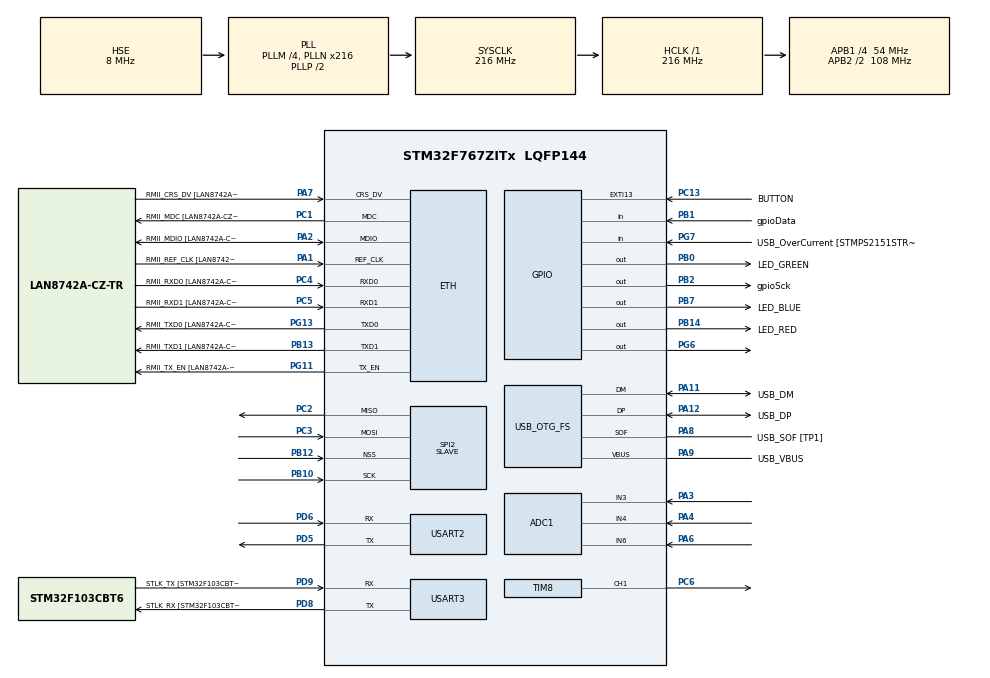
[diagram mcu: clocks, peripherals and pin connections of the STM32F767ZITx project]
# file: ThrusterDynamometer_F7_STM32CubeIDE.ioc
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ADC1.Channel-0\#ChannelRegularConversion=ADC_CHANNEL_3
ADC1.Channel-1\#ChannelRegularConversion=ADC_CHANNEL_4
ADC1.Channel-2\#ChannelRegularConversion=ADC_CHANNEL_6
ADC1.ClockPrescaler=ADC_CLOCK_SYNC_PCLK_DIV8
ADC1.DMAContinuousRequests=ENABLE
ADC1.ExternalTrigConv=ADC_EXTERNALTRIGCONV_T2_TRGO
ADC1.NbrOfConversion=3
ADC1.NbrOfConversionFlag=1
ADC1.Rank-0\#ChannelRegularConversion=1
ADC1.Rank-1\#ChannelRegularConversion=2
ADC1.Rank-2\#ChannelRegularConversion=3
ADC1.SamplingTime-0\#ChannelRegularConversion=ADC_SAMPLETIME_480CYCLES
ADC1.SamplingTime-1\#ChannelRegularConversion=ADC_SAMPLETIME_480CYCLES
ADC1.SamplingTime-2\#ChannelRegularConversion=ADC_SAMPLETIME_480CYCLES
ADC1.ScanConvMode=ADC_SCAN_ENABLE
ADC1.master=1
Dma.ADC1.1.Direction=DMA_PERIPH_TO_MEMORY
Dma.ADC1.1.FIFOMode=DMA_FIFOMODE_DISABLE
Dma.ADC1.1.Instance=DMA2_Stream0
Dma.ADC1.1.MemDataAlignment=DMA_MDATAALIGN_WORD
Dma.ADC1.1.MemInc=DMA_MINC_ENABLE
Dma.ADC1.1.Mode=DMA_CIRCULAR
Dma.ADC1.1.PeriphDataAlignment=DMA_PDATAALIGN_WORD
Dma.ADC1.1.PeriphInc=DMA_PINC_DISABLE
Dma.ADC1.1.Priority=DMA_PRIORITY_LOW
Dma.Request0=USART2_RX
Dma.Request1=ADC1
Dma.Request2=TIM8_CH1
Dma.Request3=SPI2_RX
Dma.Request4=SPI2_TX
Dma.SPI2_RX.3.Direction=DMA_PERIPH_TO_MEMORY
Dma.SPI2_RX.3.FIFOMode=DMA_FIFOMODE_ENABLE
Dma.SPI2_RX.3.FIFOThreshold=DMA_FIFO_THRESHOLD_FULL
Dma.SPI2_RX.3.Instance=DMA1_Stream1
Dma.SPI2_RX.3.MemBurst=DMA_MBURST_SINGLE
Dma.SPI2_RX.3.MemDataAlignment=DMA_MDATAALIGN_BYTE
Dma.SPI2_RX.3.MemInc=DMA_MINC_ENABLE
Dma.SPI2_RX.3.Mode=DMA_NORMAL
Dma.SPI2_RX.3.PeriphBurst=DMA_PBURST_SINGLE
Dma.SPI2_RX.3.PeriphDataAlignment=DMA_PDATAALIGN_BYTE
Dma.SPI2_RX.3.PeriphInc=DMA_PINC_DISABLE
Dma.SPI2_RX.3.Priority=DMA_PRIORITY_LOW
Dma.SPI2_TX.4.Direction=DMA_MEMORY_TO_PERIPH
Dma.SPI2_TX.4.FIFOMode=DMA_FIFOMODE_ENABLE
Dma.SPI2_TX.4.FIFOThreshold=DMA_FIFO_THRESHOLD_FULL
Dma.SPI2_TX.4.Instance=DMA1_Stream4
Dma.SPI2_TX.4.MemBurst=DMA_MBURST_SINGLE
Dma.SPI2_TX.4.MemDataAlignment=DMA_MDATAALIGN_BYTE
Dma.SPI2_TX.4.MemInc=DMA_MINC_ENABLE
Dma.SPI2_TX.4.Mode=DMA_NORMAL
Dma.SPI2_TX.4.PeriphBurst=DMA_PBURST_SINGLE
Dma.SPI2_TX.4.PeriphDataAlignment=DMA_PDATAALIGN_BYTE
Dma.SPI2_TX.4.PeriphInc=DMA_PINC_DISABLE
Dma.SPI2_TX.4.Priority=DMA_PRIORITY_LOW
Dma.TIM8_CH1.2.Direction=DMA_PERIPH_TO_MEMORY
Dma.TIM8_CH1.2.FIFOMode=DMA_FIFOMODE_DISABLE
Dma.TIM8_CH1.2.Instance=DMA2_Stream2
Dma.TIM8_CH1.2.MemDataAlignment=DMA_MDATAALIGN_HALFWORD
Dma.TIM8_CH1.2.MemInc=DMA_MINC_ENABLE
Dma.TIM8_CH1.2.Mode=DMA_CIRCULAR
Dma.TIM8_CH1.2.PeriphDataAlignment=DMA_PDATAALIGN_HALFWORD
Dma.TIM8_CH1.2.PeriphInc=DMA_PINC_DISABLE
Dma.TIM8_CH1.2.Priority=DMA_PRIORITY_LOW
Dma.USART2_RX.0.Direction=DMA_PERIPH_TO_MEMORY
Dma.USART2_RX.0.FIFOMode=DMA_FIFOMODE_DISABLE
Dma.USART2_RX.0.Instance=DMA1_Stream5
Dma.USART2_RX.0.MemDataAlignment=DMA_MDATAALIGN_BYTE
Dma.USART2_RX.0.MemInc=DMA_MINC_ENABLE
Dma.USART2_RX.0.Mode=DMA_NORMAL
Dma.USART2_RX.0.PeriphDataAlignment=DMA_PDATAALIGN_BYTE
Dma.USART2_RX.0.PeriphInc=DMA_PINC_DISABLE
Dma.USART2_RX.0.Priority=DMA_PRIORITY_LOW
ETH.MediaInterface=ETH_MEDIA_INTERFACE_RMII
ETH.PHY_Name=LAN8742A_PHY_ADDRESS
ETH.PHY_Value=0
ETH.PhyAddress=0
FREERTOS.Tasks01=defaultTask,0,128,StartDefaultTask,Default,NULL,Dynamic,NULL,NULL
FREERTOS.configTOTAL_HEAP_SIZE=50000
LWIP.IP_ADDRESS=169.254.000.055
LWIP.LWIP_DHCP=0
LWIP.NETMASK_ADDRESS=255.255.000.000
LWIP.Version=v2.0.3_Cube
Mcu.Family=STM32F7
Mcu.Name=STM32F767ZITx
Mcu.Package=LQFP144
NVIC.DMA1_Stream1_IRQn=true\:5\:0\:false\:false\:true\:true\:false\:true
NVIC.DMA1_Stream4_IRQn=true\:5\:0\:false\:false\:true\:true\:false\:true
NVIC.DMA1_Stream5_IRQn=true\:5\:0\:false\:false\:true\:true\:false\:true
NVIC.DMA2_Stream0_IRQn=true\:5\:0\:false\:false\:true\:true\:false\:true
NVIC.DMA2_Stream2_IRQn=true\:5\:0\:false\:false\:true\:true\:false\:true
NVIC.ETH_IRQn=true\:5\:0\:false\:false\:true\:true\:false\:true
NVIC.PriorityGroup=NVIC_PRIORITYGROUP_4
NVIC.SPI2_IRQn=true\:5\:0\:false\:false\:true\:true\:true\:true
NVIC.TIM1_BRK_TIM9_IRQn=true\:5\:0\:false\:false\:true\:true\:true\:true
NVIC.TIM1_TRG_COM_TIM11_IRQn=true\:5\:0\:false\:false\:true\:true\:true\:true
NVIC.TIM1_UP_TIM10_IRQn=true\:0\:0\:false\:false\:true\:false\:false\:true
NVIC.TIM2_IRQn=true\:5\:0\:false\:false\:true\:true\:true\:true
NVIC.TimeBase=TIM1_UP_TIM10_IRQn
NVIC.TimeBaseIP=TIM1
NVIC.USART2_IRQn=true\:5\:0\:false\:false\:true\:true\:true\:true
NVIC.USART3_IRQn=true\:5\:0\:false\:false\:true\:true\:true\:true
PA1.GPIO_Label=RMII_REF_CLK [LAN8742A-CZ-TR_REFCLK0]
PA1.Mode=RMII
PA1.Signal=ETH_REF_CLK
PA10.GPIO_Label=USB_ID
PA10.Signal=USB_OTG_FS_ID
PA11.GPIO_Label=USB_DM
PA11.Mode=Device_Only
PA11.Signal=USB_OTG_FS_DM
PA12.GPIO_Label=USB_DP
PA12.Mode=Device_Only
PA12.Signal=USB_OTG_FS_DP
PA13.GPIO_Label=TMS
PA13.Mode=Serial_Wire
PA13.Signal=SYS_JTMS-SWDIO
PA14.GPIO_Label=TCK
PA14.Mode=Serial_Wire
PA14.Signal=SYS_JTCK-SWCLK
PA2.GPIO_Label=RMII_MDIO [LAN8742A-CZ-TR_MDIO]
PA2.Mode=RMII
PA2.Signal=ETH_MDIO
PA3.Signal=ADCx_IN3
PA4.Signal=ADCx_IN4
PA6.Signal=ADCx_IN6
PA7.GPIO_Label=RMII_CRS_DV [LAN8742A-CZ-TR_CRS_DV]
PA7.Mode=RMII
PA7.Signal=ETH_CRS_DV
PA8.GPIO_Label=USB_SOF [TP1]
PA8.Mode=Activate_SOF_FS
PA8.Signal=USB_OTG_FS_SOF
PA9.GPIO_Label=USB_VBUS
PA9.Mode=Activate_VBUS
PA9.Signal=USB_OTG_FS_VBUS
PB0.GPIO_Label=LED_GREEN
PB0.Signal=GPIO_Output
PB1.GPIO_Label=gpioData
PB1.Signal=GPIO_Input
PB10.Mode=Full_Duplex_Slave
PB10.Signal=SPI2_SCK
PB12.Mode=NSS_Signal_Hard_Input
PB12.Signal=SPI2_NSS
PB13.GPIO_Label=RMII_TXD1 [LAN8742A-CZ-TR_TXD1]
PB13.Mode=RMII
PB13.Signal=ETH_TXD1
PB14.GPIO_Label=LED_RED
PB14.Signal=GPIO_Output
PB2.GPIO_Label=gpioSck
PB2.Signal=GPIO_Output
PB3.GPIO_Label=SWO
PB3.Signal=SYS_JTDO-SWO
PB7.GPIO_Label=LED_BLUE
PB7.Signal=GPIO_Output
PC1.GPIO_Label=RMII_MDC [LAN8742A-CZ-TR_MDC]
PC1.Mode=RMII
PC1.Signal=ETH_MDC
PC13.GPIO_Label=BUTTON
PC13.Signal=GPXTI13
PC14/OSC32_IN.Mode=LSE-External-Oscillator
PC14/OSC32_IN.Signal=RCC_OSC32_IN
PC15/OSC32_OUT.Mode=LSE-External-Oscillator
PC15/OSC32_OUT.Signal=RCC_OSC32_OUT
PC2.Mode=Full_Duplex_Slave
PC2.Signal=SPI2_MISO
PC3.Mode=Full_Duplex_Slave
PC3.Signal=SPI2_MOSI
PC4.GPIO_Label=RMII_RXD0 [LAN8742A-CZ-TR_RXD0]
PC4.Mode=RMII
PC4.Signal=ETH_RXD0
PC5.GPIO_Label=RMII_RXD1 [LAN8742A-CZ-TR_RXD1]
PC5.Mode=RMII
PC5.Signal=ETH_RXD1
PC6.Signal=S_TIM8_CH1
PD5.Mode=Asynchronous
PD5.Signal=USART2_TX
PD6.Mode=Asynchronous
PD6.Signal=USART2_RX
PD8.GPIO_Label=STLK_RX [STM32F103CBT6_PA3]
PD8.Mode=Asynchronous
PD8.Signal=USART3_TX
PD9.GPIO_Label=STLK_TX [STM32F103CBT6_PA2]
PD9.Mode=Asynchronous
PD9.Signal=USART3_RX
PG11.GPIO_Label=RMII_TX_EN [LAN8742A-CZ-TR_TXEN]
PG11.Mode=RMII
PG11.Signal=ETH_TX_EN
PG13.GPIO_Label=RMII_TXD0 [LAN8742A-CZ-TR_TXD0]
PG13.Mode=RMII
PG13.Signal=ETH_TXD0
PG6.Signal=GPIO_Output
PG7.GPIO_Label=USB_OverCurrent [STMPS2151STR_FAULT]
PG7.Signal=GPIO_Input
PH0/OSC_IN.GPIO_Label=MCO [STM32F103CBT6_PA8]
PH0/OSC_IN.Mode=HSE-External-Clock-Source
PH0/OSC_IN.Signal=RCC_OSC_IN
PH1/OSC_OUT.Mode=HSE-External-Clock-Source
PH1/OSC_OUT.Signal=RCC_OSC_OUT
ProjectManager.HeapSize=0x200
ProjectManager.StackSize=0x400
ProjectManager.TargetToolchain=STM32CubeIDE
RCC.48MHZClocksFreq_Value=24000000
RCC.AHBFreq_Value=216000000
RCC.APB1CLKDivider=RCC_HCLK_DIV4
RCC.APB1Freq_Value=54000000
RCC.APB1TimFreq_Value=108000000
RCC.APB2CLKDivider=RCC_HCLK_DIV2
RCC.APB2Freq_Value=108000000
RCC.APB2TimFreq_Value=216000000
RCC.CortexFreq_Value=216000000
RCC.HCLKFreq_Value=216000000
RCC.HSE_VALUE=8000000
RCC.HSI_VALUE=16000000
RCC.PLLM=4
RCC.PLLMUL=RCC_PLL_MUL9
RCC.PLLN=216
RCC.PLLQ=9
RCC.PRESCALERUSB=RCC_USBCLKSOURCE_PLL_DIV1_5
RCC.SYSCLKFreq_VALUE=216000000
RCC.SYSCLKSource=RCC_SYSCLKSOURCE_PLLCLK
RCC.SYSCLKSourceVirtual=RCC_SYSCLKSOURCE_PLLCLK
RCC.USBFreq_Value=48000000
RCC.VCOOutputFreq_Value=432000000
SH.ADCx_IN3.0=ADC1_IN3,IN3
SH.ADCx_IN4.0=ADC1_IN4,IN4
SH.ADCx_IN6.0=ADC1_IN6,IN6
SH.S_TIM8_CH1.0=TIM8_CH1,PWM Generation1 CH1
SPI2.DataSize=SPI_DATASIZE_8BIT
SPI2.Direction=SPI_DIRECTION_2LINES
SPI2.Mode=SPI_MODE_SLAVE
SPI2.VirtualNSS=VM_NSSHARD
SPI2.VirtualType=VM_SLAVE
TIM11.Period=999
TIM11.Prescaler=2159
TIM2.Period=999
TIM2.Prescaler=1079
TIM2.TIM_MasterOutputTrigger=TIM_TRGO_UPDATE
TIM8.Channel-PWM\ Generation1\ CH1=TIM_CHANNEL_1
TIM8.Period=10000
TIM8.Prescaler=440
TIM9.Period=9999
TIM9.Prescaler=2159
USART2.VirtualMode-Asynchronous=VM_ASYNC
USART3.VirtualMode-Asynchronous=VM_ASYNC
USB_OTG_FS.VirtualMode=Device_Only
VP_FREERTOS_VS_CMSIS_V1.Mode=CMSIS_V1
VP_LWIP_VS_Enabled.Mode=Enabled
VP_SYS_VS_tim1.Mode=TIM1
VP_TIM11_VS_ClockSourceINT.Mode=Enable_Timer
VP_TIM2_VS_ClockSourceINT.Mode=Internal
VP_TIM9_VS_ClockSourceINT.Mode=Internal
board=NUCLEO-F767ZI

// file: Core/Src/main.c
/* USER CODE BEGIN Header */
/**
  ******************************************************************************
  * @file           : main.c
  * @brief          : Main program body
  ******************************************************************************
  * @attention
  *
  * <h2><center>&copy; Copyright (c) 2020 STMicroelectronics.
  * All rights reserved.</center></h2>
  *
  * This software component is licensed by ST under BSD 3-Clause license,
  * the "License"; You may not use this file except in compliance with the
  * License. You may obtain a copy of the License at:
  *                        opensource.org/licenses/BSD-3-Clause
  *
  ******************************************************************************
  */
/* USER CODE END Header */

#include "main.h"
#include "cmsis_os.h"
#include "lwip.h"

/* USER CODE BEGIN Includes */

#include <string.h>
#include "thruster_control_module.h"

/* USER CODE END Includes */

ADC_HandleTypeDef hadc1;
DMA_HandleTypeDef hdma_adc1;

SPI_HandleTypeDef hspi2;
DMA_HandleTypeDef hdma_spi2_rx;
DMA_HandleTypeDef hdma_spi2_tx;

TIM_HandleTypeDef htim2;
TIM_HandleTypeDef htim8;
TIM_HandleTypeDef htim9;
TIM_HandleTypeDef htim11;
DMA_HandleTypeDef hdma_tim8_ch1;

UART_HandleTypeDef huart2;
UART_HandleTypeDef huart3;
DMA_HandleTypeDef hdma_usart2_rx;

PCD_HandleTypeDef hpcd_USB_OTG_FS;

osThreadId defaultTaskHandle;

void SystemClock_Config(void);
static void MX_GPIO_Init(void);
static void MX_DMA_Init(void);
static void MX_USART3_UART_Init(void);
static void MX_USB_OTG_FS_PCD_Init(void);
static void MX_ADC1_Init(void);
static void MX_TIM2_Init(void);
static void MX_TIM8_Init(void);
static void MX_TIM9_Init(void);
static void MX_TIM11_Init(void);
static void MX_USART2_UART_Init(void);
static void MX_SPI2_Init(void);
void StartDefaultTask(void const * argument);

int main(void)
{
  /* USER CODE BEGIN 1 */

  DWT->CTRL |= (1 << 0);

  /* USER CODE END 1 */

  /* MCU Configuration--------------------------------------------------------*/

  /* Reset of all peripherals, Initializes the Flash interface and the Systick. */
  HAL_Init();

  /* Configure the system clock */
  SystemClock_Config();

  /* Initialize all configured peripherals */
  MX_GPIO_Init();
  MX_DMA_Init();
  MX_USART3_UART_Init();
  MX_USB_OTG_FS_PCD_Init();
  MX_ADC1_Init();
  MX_TIM2_Init();
  MX_TIM8_Init();
  MX_TIM9_Init();
  MX_TIM11_Init();
  MX_USART2_UART_Init();
  MX_LWIP_Init();
  MX_SPI2_Init();

  /* Create the thread(s) */
  /* definition and creation of defaultTask */

  /* USER CODE BEGIN RTOS_THREADS */
  /* add threads, ... */

  ThrusterControlModule_InitSystem();

  /* USER CODE END RTOS_THREADS */

  /* Start scheduler */
  osKernelStart();

  /* We should never get here as control is now taken by the scheduler */

  /* Infinite loop */
  while (1)
  {

  }
}

void SystemClock_Config(void)
{
  RCC_OscInitTypeDef RCC_OscInitStruct = {0};
  RCC_ClkInitTypeDef RCC_ClkInitStruct = {0};
  RCC_PeriphCLKInitTypeDef PeriphClkInitStruct = {0};

  /** Configure LSE Drive Capability
  */
  HAL_PWR_EnableBkUpAccess();
  /** Configure the main internal regulator output voltage
  */
  __HAL_RCC_PWR_CLK_ENABLE();
  __HAL_PWR_VOLTAGESCALING_CONFIG(PWR_REGULATOR_VOLTAGE_SCALE1);
  /** Initializes the CPU, AHB and APB busses clocks
  */
  RCC_OscInitStruct.OscillatorType = RCC_OSCILLATORTYPE_HSE;
  RCC_OscInitStruct.HSEState = RCC_HSE_BYPASS;
  RCC_OscInitStruct.PLL.PLLState = RCC_PLL_ON;
  RCC_OscInitStruct.PLL.PLLSource = RCC_PLLSOURCE_HSE;
  RCC_OscInitStruct.PLL.PLLM = 4;
  RCC_OscInitStruct.PLL.PLLN = 216;
  RCC_OscInitStruct.PLL.PLLP = RCC_PLLP_DIV2;
  RCC_OscInitStruct.PLL.PLLQ = 9;
  if (HAL_RCC_OscConfig(&RCC_OscInitStruct) != HAL_OK)
  {
    Error_Handler();
  }
  /** Activate the Over-Drive mode
  */
  if (HAL_PWREx_EnableOverDrive() != HAL_OK)
  {
    Error_Handler();
  }
  /** Initializes the CPU, AHB and APB busses clocks
  */
  RCC_ClkInitStruct.ClockType = RCC_CLOCKTYPE_HCLK|RCC_CLOCKTYPE_SYSCLK
                              |RCC_CLOCKTYPE_PCLK1|RCC_CLOCKTYPE_PCLK2;
  RCC_ClkInitStruct.SYSCLKSource = RCC_SYSCLKSOURCE_PLLCLK;
  RCC_ClkInitStruct.AHBCLKDivider = RCC_SYSCLK_DIV1;
  RCC_ClkInitStruct.APB1CLKDivider = RCC_HCLK_DIV4;
  RCC_ClkInitStruct.APB2CLKDivider = RCC_HCLK_DIV2;

  if (HAL_RCC_ClockConfig(&RCC_ClkInitStruct, FLASH_LATENCY_7) != HAL_OK)
  {
    Error_Handler();
  }
  PeriphClkInitStruct.PeriphClockSelection = RCC_PERIPHCLK_USART2|RCC_PERIPHCLK_USART3
                              |RCC_PERIPHCLK_CLK48;
  PeriphClkInitStruct.Usart2ClockSelection = RCC_USART2CLKSOURCE_PCLK1;
  PeriphClkInitStruct.Usart3ClockSelection = RCC_USART3CLKSOURCE_PCLK1;
  PeriphClkInitStruct.Clk48ClockSelection = RCC_CLK48SOURCE_PLL;
  if (HAL_RCCEx_PeriphCLKConfig(&PeriphClkInitStruct) != HAL_OK)
  {
    Error_Handler();
  }
}

static void MX_ADC1_Init(void)
{

  ADC_ChannelConfTypeDef sConfig = {0};

  /** Configure the global features of the ADC (Clock, Resolution, Data Alignment and number of conversion)
  */
  hadc1.Instance = ADC1;
  hadc1.Init.ClockPrescaler = ADC_CLOCK_SYNC_PCLK_DIV8;
  hadc1.Init.Resolution = ADC_RESOLUTION_12B;
  hadc1.Init.ScanConvMode = ADC_SCAN_ENABLE;
  hadc1.Init.ContinuousConvMode = DISABLE;
  hadc1.Init.DiscontinuousConvMode = DISABLE;
  hadc1.Init.ExternalTrigConvEdge = ADC_EXTERNALTRIGCONVEDGE_RISING;
  hadc1.Init.ExternalTrigConv = ADC_EXTERNALTRIGCONV_T2_TRGO;
  hadc1.Init.DataAlign = ADC_DATAALIGN_RIGHT;
  hadc1.Init.NbrOfConversion = 3;
  hadc1.Init.DMAContinuousRequests = ENABLE;
  hadc1.Init.EOCSelection = ADC_EOC_SINGLE_CONV;
  if (HAL_ADC_Init(&hadc1) != HAL_OK)
  {
    Error_Handler();
  }
  /** Configure for the selected ADC regular channel its corresponding rank in the sequencer and its sample time.
  */
  sConfig.Channel = ADC_CHANNEL_3;
  sConfig.Rank = ADC_REGULAR_RANK_1;
  sConfig.SamplingTime = ADC_SAMPLETIME_480CYCLES;
  if (HAL_ADC_ConfigChannel(&hadc1, &sConfig) != HAL_OK)
  {
    Error_Handler();
  }
  /** Configure for the selected ADC regular channel its corresponding rank in the sequencer and its sample time.
  */
  sConfig.Channel = ADC_CHANNEL_4;
  sConfig.Rank = ADC_REGULAR_RANK_2;
  if (HAL_ADC_ConfigChannel(&hadc1, &sConfig) != HAL_OK)
  {
    Error_Handler();
  }
  /** Configure for the selected ADC regular channel its corresponding rank in the sequencer and its sample time.
  */
  sConfig.Channel = ADC_CHANNEL_6;
  sConfig.Rank = ADC_REGULAR_RANK_3;
  if (HAL_ADC_ConfigChannel(&hadc1, &sConfig) != HAL_OK)
  {
    Error_Handler();
  }

}

static void MX_SPI2_Init(void)
{

  /* SPI2 parameter configuration*/
  hspi2.Instance = SPI2;
  hspi2.Init.Mode = SPI_MODE_SLAVE;
  hspi2.Init.Direction = SPI_DIRECTION_2LINES;
  hspi2.Init.DataSize = SPI_DATASIZE_8BIT;
  hspi2.Init.CLKPolarity = SPI_POLARITY_LOW;
  hspi2.Init.CLKPhase = SPI_PHASE_1EDGE;
  hspi2.Init.NSS = SPI_NSS_HARD_INPUT;
  hspi2.Init.FirstBit = SPI_FIRSTBIT_MSB;
  hspi2.Init.TIMode = SPI_TIMODE_DISABLE;
  hspi2.Init.CRCCalculation = SPI_CRCCALCULATION_DISABLE;
  hspi2.Init.CRCPolynomial = 7;
  hspi2.Init.CRCLength = SPI_CRC_LENGTH_DATASIZE;
  hspi2.Init.NSSPMode = SPI_NSS_PULSE_DISABLE;
  if (HAL_SPI_Init(&hspi2) != HAL_OK)
  {
    Error_Handler();
  }

}

static void MX_TIM2_Init(void)
{

  TIM_ClockConfigTypeDef sClockSourceConfig = {0};
  TIM_MasterConfigTypeDef sMasterConfig = {0};

  htim2.Instance = TIM2;
  htim2.Init.Prescaler = 1079;
  htim2.Init.CounterMode = TIM_COUNTERMODE_UP;
  htim2.Init.Period = 999;
  htim2.Init.ClockDivision = TIM_CLOCKDIVISION_DIV1;
  htim2.Init.AutoReloadPreload = TIM_AUTORELOAD_PRELOAD_DISABLE;
  if (HAL_TIM_Base_Init(&htim2) != HAL_OK)
  {
    Error_Handler();
  }
  sClockSourceConfig.ClockSource = TIM_CLOCKSOURCE_INTERNAL;
  if (HAL_TIM_ConfigClockSource(&htim2, &sClockSourceConfig) != HAL_OK)
  {
    Error_Handler();
  }
  sMasterConfig.MasterOutputTrigger = TIM_TRGO_UPDATE;
  sMasterConfig.MasterSlaveMode = TIM_MASTERSLAVEMODE_DISABLE;
  if (HAL_TIMEx_MasterConfigSynchronization(&htim2, &sMasterConfig) != HAL_OK)
  {
    Error_Handler();
  }

}

static void MX_TIM8_Init(void)
{

  TIM_MasterConfigTypeDef sMasterConfig = {0};
  TIM_OC_InitTypeDef sConfigOC = {0};
  TIM_BreakDeadTimeConfigTypeDef sBreakDeadTimeConfig = {0};

  htim8.Instance = TIM8;
  htim8.Init.Prescaler = 440;
  htim8.Init.CounterMode = TIM_COUNTERMODE_UP;
  htim8.Init.Period = 10000;
  htim8.Init.ClockDivision = TIM_CLOCKDIVISION_DIV1;
  htim8.Init.RepetitionCounter = 0;
  htim8.Init.AutoReloadPreload = TIM_AUTORELOAD_PRELOAD_DISABLE;
  if (HAL_TIM_PWM_Init(&htim8) != HAL_OK)
  {
    Error_Handler();
  }
  sMasterConfig.MasterOutputTrigger = TIM_TRGO_RESET;
  sMasterConfig.MasterOutputTrigger2 = TIM_TRGO2_RESET;
  sMasterConfig.MasterSlaveMode = TIM_MASTERSLAVEMODE_DISABLE;
  if (HAL_TIMEx_MasterConfigSynchronization(&htim8, &sMasterConfig) != HAL_OK)
  {
    Error_Handler();
  }
  sConfigOC.OCMode = TIM_OCMODE_PWM1;
  sConfigOC.Pulse = 0;
  sConfigOC.OCPolarity = TIM_OCPOLARITY_HIGH;
  sConfigOC.OCNPolarity = TIM_OCNPOLARITY_HIGH;
  sConfigOC.OCFastMode = TIM_OCFAST_DISABLE;
  sConfigOC.OCIdleState = TIM_OCIDLESTATE_RESET;
  sConfigOC.OCNIdleState = TIM_OCNIDLESTATE_RESET;
  if (HAL_TIM_PWM_ConfigChannel(&htim8, &sConfigOC, TIM_CHANNEL_1) != HAL_OK)
  {
    Error_Handler();
  }
  sBreakDeadTimeConfig.OffStateRunMode = TIM_OSSR_DISABLE;
  sBreakDeadTimeConfig.OffStateIDLEMode = TIM_OSSI_DISABLE;
  sBreakDeadTimeConfig.LockLevel = TIM_LOCKLEVEL_OFF;
  sBreakDeadTimeConfig.DeadTime = 0;
  sBreakDeadTimeConfig.BreakState = TIM_BREAK_DISABLE;
  sBreakDeadTimeConfig.BreakPolarity = TIM_BREAKPOLARITY_HIGH;
  sBreakDeadTimeConfig.BreakFilter = 0;
  sBreakDeadTimeConfig.Break2State = TIM_BREAK2_DISABLE;
  sBreakDeadTimeConfig.Break2Polarity = TIM_BREAK2POLARITY_HIGH;
  sBreakDeadTimeConfig.Break2Filter = 0;
  sBreakDeadTimeConfig.AutomaticOutput = TIM_AUTOMATICOUTPUT_DISABLE;
  if (HAL_TIMEx_ConfigBreakDeadTime(&htim8, &sBreakDeadTimeConfig) != HAL_OK)
  {
    Error_Handler();
  }
  HAL_TIM_MspPostInit(&htim8);

}

static void MX_TIM9_Init(void)
{

  TIM_ClockConfigTypeDef sClockSourceConfig = {0};

  htim9.Instance = TIM9;
  htim9.Init.Prescaler = 2159;
  htim9.Init.CounterMode = TIM_COUNTERMODE_UP;
  htim9.Init.Period = 9999;
  htim9.Init.ClockDivision = TIM_CLOCKDIVISION_DIV1;
  htim9.Init.AutoReloadPreload = TIM_AUTORELOAD_PRELOAD_DISABLE;
  if (HAL_TIM_Base_Init(&htim9) != HAL_OK)
  {
    Error_Handler();
  }
  sClockSourceConfig.ClockSource = TIM_CLOCKSOURCE_INTERNAL;
  if (HAL_TIM_ConfigClockSource(&htim9, &sClockSourceConfig) != HAL_OK)
  {
    Error_Handler();
  }

}

static void MX_TIM11_Init(void)
{

  htim11.Instance = TIM11;
  htim11.Init.Prescaler = 2159;
  htim11.Init.CounterMode = TIM_COUNTERMODE_UP;
  htim11.Init.Period = 999;
  htim11.Init.ClockDivision = TIM_CLOCKDIVISION_DIV1;
  htim11.Init.AutoReloadPreload = TIM_AUTORELOAD_PRELOAD_DISABLE;
  if (HAL_TIM_Base_Init(&htim11) != HAL_OK)
  {
    Error_Handler();
  }

}

static void MX_USART2_UART_Init(void)
{

  huart2.Instance = USART2;
  huart2.Init.BaudRate = 115200;
  huart2.Init.WordLength = UART_WORDLENGTH_8B;
  huart2.Init.StopBits = UART_STOPBITS_1;
  huart2.Init.Parity = UART_PARITY_NONE;
  huart2.Init.Mode = UART_MODE_TX_RX;
  huart2.Init.HwFlowCtl = UART_HWCONTROL_NONE;
  huart2.Init.OverSampling = UART_OVERSAMPLING_16;
  huart2.Init.OneBitSampling = UART_ONE_BIT_SAMPLE_DISABLE;
  huart2.AdvancedInit.AdvFeatureInit = UART_ADVFEATURE_NO_INIT;
  if (HAL_UART_Init(&huart2) != HAL_OK)
  {
    Error_Handler();
  }

}

static void MX_USART3_UART_Init(void)
{

  huart3.Instance = USART3;
  huart3.Init.BaudRate = 115200;
  huart3.Init.WordLength = UART_WORDLENGTH_8B;
  huart3.Init.StopBits = UART_STOPBITS_1;
  huart3.Init.Parity = UART_PARITY_NONE;
  huart3.Init.Mode = UART_MODE_TX_RX;
  huart3.Init.HwFlowCtl = UART_HWCONTROL_NONE;
  huart3.Init.OverSampling = UART_OVERSAMPLING_16;
  huart3.Init.OneBitSampling = UART_ONE_BIT_SAMPLE_DISABLE;
  huart3.AdvancedInit.AdvFeatureInit = UART_ADVFEATURE_NO_INIT;
  if (HAL_UART_Init(&huart3) != HAL_OK)
  {
    Error_Handler();
  }

}

static void MX_USB_OTG_FS_PCD_Init(void)
{

  hpcd_USB_OTG_FS.Instance = USB_OTG_FS;
  hpcd_USB_OTG_FS.Init.dev_endpoints = 6;
  hpcd_USB_OTG_FS.Init.speed = PCD_SPEED_FULL;
  hpcd_USB_OTG_FS.Init.dma_enable = DISABLE;
  hpcd_USB_OTG_FS.Init.phy_itface = PCD_PHY_EMBEDDED;
  hpcd_USB_OTG_FS.Init.Sof_enable = ENABLE;
  hpcd_USB_OTG_FS.Init.low_power_enable = DISABLE;
  hpcd_USB_OTG_FS.Init.lpm_enable = DISABLE;
  hpcd_USB_OTG_FS.Init.vbus_sensing_enable = ENABLE;
  hpcd_USB_OTG_FS.Init.use_dedicated_ep1 = DISABLE;
  if (HAL_PCD_Init(&hpcd_USB_OTG_FS) != HAL_OK)
  {
    Error_Handler();
  }

}

static void MX_DMA_Init(void)
{

  /* DMA controller clock enable */
  __HAL_RCC_DMA1_CLK_ENABLE();
  __HAL_RCC_DMA2_CLK_ENABLE();

  /* DMA interrupt init */
  /* DMA1_Stream1_IRQn interrupt configuration */
  HAL_NVIC_SetPriority(DMA1_Stream1_IRQn, 5, 0);
  HAL_NVIC_EnableIRQ(DMA1_Stream1_IRQn);
  /* DMA1_Stream4_IRQn interrupt configuration */
  HAL_NVIC_SetPriority(DMA1_Stream4_IRQn, 5, 0);
  HAL_NVIC_EnableIRQ(DMA1_Stream4_IRQn);
  /* DMA1_Stream5_IRQn interrupt configuration */
  HAL_NVIC_SetPriority(DMA1_Stream5_IRQn, 5, 0);
  HAL_NVIC_EnableIRQ(DMA1_Stream5_IRQn);
  /* DMA2_Stream0_IRQn interrupt configuration */
  HAL_NVIC_SetPriority(DMA2_Stream0_IRQn, 5, 0);
  HAL_NVIC_EnableIRQ(DMA2_Stream0_IRQn);
  /* DMA2_Stream2_IRQn interrupt configuration */
  HAL_NVIC_SetPriority(DMA2_Stream2_IRQn, 5, 0);
  HAL_NVIC_EnableIRQ(DMA2_Stream2_IRQn);

}

static void MX_GPIO_Init(void)
{
  GPIO_InitTypeDef GPIO_InitStruct = {0};

  /* GPIO Ports Clock Enable */
  __HAL_RCC_GPIOC_CLK_ENABLE();
  __HAL_RCC_GPIOH_CLK_ENABLE();
  __HAL_RCC_GPIOA_CLK_ENABLE();
  __HAL_RCC_GPIOB_CLK_ENABLE();
  __HAL_RCC_GPIOD_CLK_ENABLE();
  __HAL_RCC_GPIOG_CLK_ENABLE();

  /*Configure GPIO pin Output Level */
  HAL_GPIO_WritePin(GPIOB, LED_GREEN_Pin|gpioSck_Pin|LED_RED_Pin|LED_BLUE_Pin, GPIO_PIN_RESET);

  /*Configure GPIO pin Output Level */
  HAL_GPIO_WritePin(GPIOG, GPIO_PIN_6, GPIO_PIN_RESET);

  /*Configure GPIO pin : BUTTON_Pin */
  GPIO_InitStruct.Pin = BUTTON_Pin;
  GPIO_InitStruct.Mode = GPIO_MODE_IT_RISING;
  GPIO_InitStruct.Pull = GPIO_NOPULL;
  HAL_GPIO_Init(BUTTON_GPIO_Port, &GPIO_InitStruct);

  /*Configure GPIO pins : LED_GREEN_Pin gpioSck_Pin LED_RED_Pin LED_BLUE_Pin */
  GPIO_InitStruct.Pin = LED_GREEN_Pin|gpioSck_Pin|LED_RED_Pin|LED_BLUE_Pin;
  GPIO_InitStruct.Mode = GPIO_MODE_OUTPUT_PP;
  GPIO_InitStruct.Pull = GPIO_NOPULL;
  GPIO_InitStruct.Speed = GPIO_SPEED_FREQ_LOW;
  HAL_GPIO_Init(GPIOB, &GPIO_InitStruct);

  /*Configure GPIO pin : gpioData_Pin */
  GPIO_InitStruct.Pin = gpioData_Pin;
  GPIO_InitStruct.Mode = GPIO_MODE_INPUT;
  GPIO_InitStruct.Pull = GPIO_NOPULL;
  HAL_GPIO_Init(gpioData_GPIO_Port, &GPIO_InitStruct);

  /*Configure GPIO pin : PG6 */
  GPIO_InitStruct.Pin = GPIO_PIN_6;
  GPIO_InitStruct.Mode = GPIO_MODE_OUTPUT_PP;
  GPIO_InitStruct.Pull = GPIO_NOPULL;
  GPIO_InitStruct.Speed = GPIO_SPEED_FREQ_LOW;
  HAL_GPIO_Init(GPIOG, &GPIO_InitStruct);

  /*Configure GPIO pin : USB_OverCurrent_Pin */
  GPIO_InitStruct.Pin = USB_OverCurrent_Pin;
  GPIO_InitStruct.Mode = GPIO_MODE_INPUT;
  GPIO_InitStruct.Pull = GPIO_NOPULL;
  HAL_GPIO_Init(USB_OverCurrent_GPIO_Port, &GPIO_InitStruct);

}

void StartDefaultTask(void const * argument)
{
  /* USER CODE BEGIN 5 */

      SEGGER_SYSVIEW_Conf();
      SEGGER_SYSVIEW_Start();

	  osThreadId id;
	  id = osThreadGetId ();
	  osThreadTerminate (id);

  /* Infinite loop */
  for(;;)
  {
	  osDelay(1000);
  }
  /* USER CODE END 5 */
}

void HAL_TIM_PeriodElapsedCallback(TIM_HandleTypeDef *htim)
{
  /* USER CODE BEGIN Callback 0 */
	BaseType_t checkIfYieldRequired = pdFALSE, xResult;
  /* USER CODE END Callback 0 */
  if (htim->Instance == TIM1) {
    HAL_IncTick();
  }
  /* USER CODE BEGIN Callback 1 */
  if(htim->Instance == TIM9){ // tenso - 10 Hz

 	  	xResult = xTaskNotifyFromISR(xTaskTensoHandle, 0, eNoAction, &checkIfYieldRequired);

 	  	configASSERT( xResult == pdPASS );
 		portYIELD_FROM_ISR(checkIfYieldRequired);

   }else if(htim->Instance == TIM11){ // send - 1000 Hz

 	  	xResult = xTaskNotifyFromISR(xTaskSendDataHandle, 0, eNoAction, &checkIfYieldRequired);

 	  	configASSERT( xResult == pdPASS );
 		portYIELD_FROM_ISR(checkIfYieldRequired);

   }
  /* USER CODE END Callback 1 */
}

void Error_Handler(void)
{
}

/************************ (C) COPYRIGHT STMicroelectronics *****END OF FILE****/
